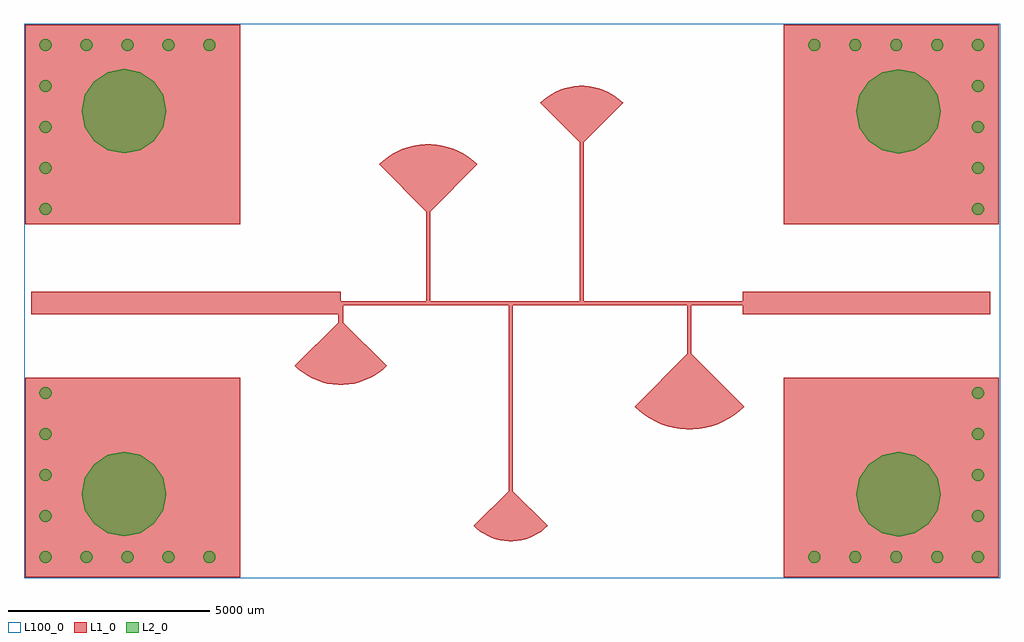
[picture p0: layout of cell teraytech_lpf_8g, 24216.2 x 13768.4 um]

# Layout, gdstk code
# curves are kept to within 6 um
import gdstk
lib = gdstk.Library(unit=1e-6, precision=1e-09)
def R(c, l, rs):  # rectangles x0, y0, x1, y1
    for r in rs: c.add(gdstk.rectangle(r[:2], r[2:], *l))
def P(c, l, *ps):  # polygons
    for p in ps: c.add(gdstk.Polygon(p, *l))
L1_0 = (1, 0)
L2_0 = (2, 0)
L100_0 = (100, 0)

teraytech_lpf_8g = lib.new_cell('teraytech_lpf_8g')
R(teraytech_lpf_8g, L1_0, [(26.2,26.2,5360.2,4979.2), (18847.6,26.2,24181.6,4979.2), (26.2,8789.2,5360.2,13742.2), (18847.6,8789.2,24181.6,13742.2)])
P(teraytech_lpf_8g, L1_0, [(14250.3,12164.3),(14473.9,12077),(14579.5,12019.8),(14774.9,11880.4),(14863.2,11799),(13885.6,10821.4),(13885.6,6882),(17831.7,6882),(17831.7,7118.6),(23980,7118.7),(23980,6554),(17831.7,6554),(17831.7,6782),(16561.4,6782),(16561.4,5574.5),(17872.7,4263.1),(17755.7,4155.4),(17630.1,4057.6),(17496.9,3970.6),(17356.9,3894.9),(17211.2,3830.9),(17060.7,3779.3),(16906.5,3740.2),(16749.5,3714),(16590.9,3700.9),(16431.8,3700.9),(16273.2,3714),(16116.2,3740.2),(15962,3779.3),(15811.5,3830.9),(15665.8,3894.9),(15525.8,3970.6),(15392.6,4057.6),(15267,4155.4),(15150,4263.1),(16461.4,5574.5),(16461.4,6782),(12126.8,6782),(12126.8,2169.6),(12993,1303.3),(12914.3,1230.8),(12740.1,1106.4),(12547.8,1012.4),(12342.7,951.3),(12237.1,933.7),(12023.2,924.9),(11810.9,951.3),(11707,977.6),(11507.7,1055.4),(11323.8,1165),(11160.5,1303.3),(12026.8,2169.6),(12026.8,6782),(7923,6782),(7923,6349.7),(8998.9,5273.8),(8900.9,5183.6),(8684.3,5028.9),(8445.3,4912),(8190.2,4836.1),(7926.1,4803.2),(7792.9,4803.2),(7528.8,4836.1),(7273.8,4912),(7034.7,5028.9),(6818.1,5183.6),(6720.1,5273.8),(7796,6349.7),(7796,6549.6),(178.8,6549.6),(178.8,7114.4),(7859.5,7114.4),(7859.5,6882),(9978.4,6882),(9978.4,9103.4),(8810.1,10271.7),(8914.9,10368.1),(9146.5,10533.4),(9402.1,10658.4),(9674.8,10739.6),(9957.2,10774.8),(10099.6,10774.8),(10381.9,10739.6),(10654.6,10658.4),(10910.3,10533.4),(11029.5,10455.5),(11246.6,10271.7),(10078.4,9103.4),(10078.4,6882),(13785.6,6882),(13785.6,10821.4),(12808,11799),(12896.4,11880.4),(13091.7,12019.8),(13197.4,12077),(13421,12164.3),(13655.9,12213.5),(13775.6,12223.4),(14015.4,12213.5)])
P(teraytech_lpf_8g, L2_0, [(22748.2,11590.2),(22668.2,11992.2),(22440.2,12332.2),(22099.2,12560.2),(21698.2,12640.2),(21296.2,12560.2),(20955.2,12332.2),(20728.2,11992.2),(20648.2,11590.2),(20728.2,11188.2),(20955.2,10848.2),(21296.2,10620.2),(21698.2,10540.2),(22099.2,10620.2),(22440.2,10848.2),(22668.2,11188.2)],
  [(22748.2,2090.2),(22668.2,2492.2),(22440.2,2832.2),(22099.2,3060.2),(21698.2,3140.2),(21296.2,3060.2),(20955.2,2832.2),(20728.2,2492.2),(20648.2,2090.2),(20728.2,1688.2),(20955.2,1348.2),(21296.2,1120.2),(21698.2,1040.2),(22099.2,1120.2),(22440.2,1348.2),(22668.2,1688.2)],
  [(3531.2,11595.2),(3451.2,11997.2),(3223.2,12338.2),(2883.2,12565.2),(2481.2,12645.2),(2079.2,12565.2),(1738.2,12338.2),(1511.2,11997.2),(1431.2,11595.2),(1511.2,11193.2),(1738.2,10853.2),(2079.2,10625.2),(2481.2,10545.2),(2883.2,10625.2),(3223.2,10853.2),(3451.2,11193.2)],
  [(3531.2,2095.2),(3451.2,2497.2),(3223.2,2838.2),(2883.2,3065.2),(2481.2,3145.2),(2079.2,3065.2),(1738.2,2838.2),(1511.2,2497.2),(1431.2,2095.2),(1511.2,1693.2),(1738.2,1353.2),(2079.2,1125.2),(2481.2,1045.2),(2883.2,1125.2),(3223.2,1353.2),(3451.2,1693.2)],
  [(23826.2,13234.2),(23814.2,13292.2),(23781.2,13342.2),(23732.2,13375.2),(23673.2,13386.2),(23615.2,13375.2),(23566.2,13342.2),(23533.2,13292.2),(23521.2,13234.2),(23533.2,13176.2),(23566.2,13126.2),(23615.2,13093.2),(23673.2,13082.2),(23732.2,13093.2),(23781.2,13126.2),(23814.2,13176.2)],
  [(22810.2,13234.2),(22798.2,13292.2),(22765.2,13342.2),(22716.2,13375.2),(22657.2,13386.2),(22599.2,13375.2),(22550.2,13342.2),(22517.2,13292.2),(22505.2,13234.2),(22517.2,13176.2),(22550.2,13126.2),(22599.2,13093.2),(22657.2,13082.2),(22716.2,13093.2),(22765.2,13126.2),(22798.2,13176.2)],
  [(21794.2,13234.2),(21782.2,13292.2),(21749.2,13342.2),(21700.2,13375.2),(21641.2,13386.2),(21583.2,13375.2),(21534.2,13342.2),(21501.2,13292.2),(21489.2,13234.2),(21501.2,13176.2),(21534.2,13126.2),(21583.2,13093.2),(21641.2,13082.2),(21700.2,13093.2),(21749.2,13126.2),(21782.2,13176.2)],
  [(20778.2,13234.2),(20766.2,13292.2),(20733.2,13342.2),(20684.2,13375.2),(20625.2,13386.2),(20567.2,13375.2),(20518.2,13342.2),(20485.2,13292.2),(20473.2,13234.2),(20485.2,13176.2),(20518.2,13126.2),(20567.2,13093.2),(20625.2,13082.2),(20684.2,13093.2),(20733.2,13126.2),(20766.2,13176.2)],
  [(19762.2,13234.2),(19750.2,13292.2),(19717.2,13342.2),(19668.2,13375.2),(19609.2,13386.2),(19551.2,13375.2),(19502.2,13342.2),(19469.2,13292.2),(19457.2,13234.2),(19469.2,13176.2),(19502.2,13126.2),(19551.2,13093.2),(19609.2,13082.2),(19668.2,13093.2),(19717.2,13126.2),(19750.2,13176.2)],
  [(23826.2,12218.2),(23814.2,12276.2),(23781.2,12326.2),(23732.2,12359.2),(23673.2,12370.2),(23615.2,12359.2),(23566.2,12326.2),(23533.2,12276.2),(23521.2,12218.2),(23533.2,12160.2),(23566.2,12110.2),(23615.2,12077.2),(23673.2,12066.2),(23732.2,12077.2),(23781.2,12110.2),(23814.2,12160.2)],
  [(23826.2,11202.2),(23814.2,11260.2),(23781.2,11310.2),(23732.2,11343.2),(23673.2,11354.2),(23615.2,11343.2),(23566.2,11310.2),(23533.2,11260.2),(23521.2,11202.2),(23533.2,11144.2),(23566.2,11094.2),(23615.2,11061.2),(23673.2,11050.2),(23732.2,11061.2),(23781.2,11094.2),(23814.2,11144.2)],
  [(23826.2,10186.2),(23814.2,10244.2),(23781.2,10294.2),(23732.2,10327.2),(23673.2,10338.2),(23615.2,10327.2),(23566.2,10294.2),(23533.2,10244.2),(23521.2,10186.2),(23533.2,10128.2),(23566.2,10078.2),(23615.2,10045.2),(23673.2,10034.2),(23732.2,10045.2),(23781.2,10078.2),(23814.2,10128.2)],
  [(23826.2,9170.2),(23814.2,9228.2),(23781.2,9278.2),(23732.2,9311.2),(23673.2,9322.2),(23615.2,9311.2),(23566.2,9278.2),(23533.2,9228.2),(23521.2,9170.2),(23533.2,9112.2),(23566.2,9062.2),(23615.2,9029.2),(23673.2,9018.2),(23732.2,9029.2),(23781.2,9062.2),(23814.2,9112.2)],
  [(23826.2,534.2),(23814.2,592.2),(23781.2,642.2),(23732.2,675.2),(23673.2,686.2),(23615.2,675.2),(23566.2,642.2),(23533.2,592.2),(23521.2,534.2),(23533.2,476.2),(23566.2,426.2),(23615.2,393.2),(23673.2,382.2),(23732.2,393.2),(23781.2,426.2),(23814.2,476.2)],
  [(22810.2,534.2),(22798.2,592.2),(22765.2,642.2),(22716.2,675.2),(22657.2,686.2),(22599.2,675.2),(22550.2,642.2),(22517.2,592.2),(22505.2,534.2),(22517.2,476.2),(22550.2,426.2),(22599.2,393.2),(22657.2,382.2),(22716.2,393.2),(22765.2,426.2),(22798.2,476.2)],
  [(21794.2,534.2),(21782.2,592.2),(21749.2,642.2),(21700.2,675.2),(21641.2,686.2),(21583.2,675.2),(21534.2,642.2),(21501.2,592.2),(21489.2,534.2),(21501.2,476.2),(21534.2,426.2),(21583.2,393.2),(21641.2,382.2),(21700.2,393.2),(21749.2,426.2),(21782.2,476.2)],
  [(20778.2,534.2),(20766.2,592.2),(20733.2,642.2),(20684.2,675.2),(20625.2,686.2),(20567.2,675.2),(20518.2,642.2),(20485.2,592.2),(20473.2,534.2),(20485.2,476.2),(20518.2,426.2),(20567.2,393.2),(20625.2,382.2),(20684.2,393.2),(20733.2,426.2),(20766.2,476.2)],
  [(19762.2,534.2),(19750.2,592.2),(19717.2,642.2),(19668.2,675.2),(19609.2,686.2),(19551.2,675.2),(19502.2,642.2),(19469.2,592.2),(19457.2,534.2),(19469.2,476.2),(19502.2,426.2),(19551.2,393.2),(19609.2,382.2),(19668.2,393.2),(19717.2,426.2),(19750.2,476.2)],
  [(23826.2,1550.2),(23814.2,1608.2),(23781.2,1658.2),(23732.2,1691.2),(23673.2,1702.2),(23615.2,1691.2),(23566.2,1658.2),(23533.2,1608.2),(23521.2,1550.2),(23533.2,1492.2),(23566.2,1442.2),(23615.2,1409.2),(23673.2,1398.2),(23732.2,1409.2),(23781.2,1442.2),(23814.2,1492.2)],
  [(23826.2,2566.2),(23814.2,2624.2),(23781.2,2674.2),(23732.2,2707.2),(23673.2,2718.2),(23615.2,2707.2),(23566.2,2674.2),(23533.2,2624.2),(23521.2,2566.2),(23533.2,2508.2),(23566.2,2458.2),(23615.2,2425.2),(23673.2,2414.2),(23732.2,2425.2),(23781.2,2458.2),(23814.2,2508.2)],
  [(23826.2,3582.2),(23814.2,3640.2),(23781.2,3690.2),(23732.2,3723.2),(23673.2,3734.2),(23615.2,3723.2),(23566.2,3690.2),(23533.2,3640.2),(23521.2,3582.2),(23533.2,3524.2),(23566.2,3474.2),(23615.2,3441.2),(23673.2,3430.2),(23732.2,3441.2),(23781.2,3474.2),(23814.2,3524.2)],
  [(23826.2,4598.2),(23814.2,4656.2),(23781.2,4706.2),(23732.2,4739.2),(23673.2,4750.2),(23615.2,4739.2),(23566.2,4706.2),(23533.2,4656.2),(23521.2,4598.2),(23533.2,4540.2),(23566.2,4490.2),(23615.2,4457.2),(23673.2,4446.2),(23732.2,4457.2),(23781.2,4490.2),(23814.2,4540.2)],
  [(686.2,534.2),(675.2,592.2),(642.2,642.2),(592.2,675.2),(534.2,686.2),(476.2,675.2),(426.2,642.2),(393.2,592.2),(382.2,534.2),(393.2,476.2),(426.2,426.2),(476.2,393.2),(534.2,382.2),(592.2,393.2),(642.2,426.2),(675.2,476.2)],
  [(1702.2,534.2),(1691.2,592.2),(1658.2,642.2),(1608.2,675.2),(1550.2,686.2),(1492.2,675.2),(1442.2,642.2),(1409.2,592.2),(1398.2,534.2),(1409.2,476.2),(1442.2,426.2),(1492.2,393.2),(1550.2,382.2),(1608.2,393.2),(1658.2,426.2),(1691.2,476.2)],
  [(2718.2,534.2),(2707.2,592.2),(2674.2,642.2),(2624.2,675.2),(2566.2,686.2),(2508.2,675.2),(2458.2,642.2),(2425.2,592.2),(2414.2,534.2),(2425.2,476.2),(2458.2,426.2),(2508.2,393.2),(2566.2,382.2),(2624.2,393.2),(2674.2,426.2),(2707.2,476.2)],
  [(3734.2,534.2),(3723.2,592.2),(3690.2,642.2),(3640.2,675.2),(3582.2,686.2),(3524.2,675.2),(3474.2,642.2),(3441.2,592.2),(3430.2,534.2),(3441.2,476.2),(3474.2,426.2),(3524.2,393.2),(3582.2,382.2),(3640.2,393.2),(3690.2,426.2),(3723.2,476.2)],
  [(4750.2,534.2),(4739.2,592.2),(4706.2,642.2),(4656.2,675.2),(4598.2,686.2),(4540.2,675.2),(4490.2,642.2),(4457.2,592.2),(4446.2,534.2),(4457.2,476.2),(4490.2,426.2),(4540.2,393.2),(4598.2,382.2),(4656.2,393.2),(4706.2,426.2),(4739.2,476.2)],
  [(686.2,1550.2),(675.2,1608.2),(642.2,1658.2),(592.2,1691.2),(534.2,1702.2),(476.2,1691.2),(426.2,1658.2),(393.2,1608.2),(382.2,1550.2),(393.2,1492.2),(426.2,1442.2),(476.2,1409.2),(534.2,1398.2),(592.2,1409.2),(642.2,1442.2),(675.2,1492.2)],
  [(686.2,2566.2),(675.2,2624.2),(642.2,2674.2),(592.2,2707.2),(534.2,2718.2),(476.2,2707.2),(426.2,2674.2),(393.2,2624.2),(382.2,2566.2),(393.2,2508.2),(426.2,2458.2),(476.2,2425.2),(534.2,2414.2),(592.2,2425.2),(642.2,2458.2),(675.2,2508.2)],
  [(686.2,3582.2),(675.2,3640.2),(642.2,3690.2),(592.2,3723.2),(534.2,3734.2),(476.2,3723.2),(426.2,3690.2),(393.2,3640.2),(382.2,3582.2),(393.2,3524.2),(426.2,3474.2),(476.2,3441.2),(534.2,3430.2),(592.2,3441.2),(642.2,3474.2),(675.2,3524.2)],
  [(686.2,4598.2),(675.2,4656.2),(642.2,4706.2),(592.2,4739.2),(534.2,4750.2),(476.2,4739.2),(426.2,4706.2),(393.2,4656.2),(382.2,4598.2),(393.2,4540.2),(426.2,4490.2),(476.2,4457.2),(534.2,4446.2),(592.2,4457.2),(642.2,4490.2),(675.2,4540.2)],
  [(686.2,9170.2),(675.2,9228.2),(642.2,9278.2),(592.2,9311.2),(534.2,9322.2),(476.2,9311.2),(426.2,9278.2),(393.2,9228.2),(382.2,9170.2),(393.2,9112.2),(426.2,9062.2),(476.2,9029.2),(534.2,9018.2),(592.2,9029.2),(642.2,9062.2),(675.2,9112.2)],
  [(686.2,10186.2),(675.2,10244.2),(642.2,10294.2),(592.2,10327.2),(534.2,10338.2),(476.2,10327.2),(426.2,10294.2),(393.2,10244.2),(382.2,10186.2),(393.2,10128.2),(426.2,10078.2),(476.2,10045.2),(534.2,10034.2),(592.2,10045.2),(642.2,10078.2),(675.2,10128.2)],
  [(686.2,11202.2),(675.2,11260.2),(642.2,11310.2),(592.2,11343.2),(534.2,11354.2),(476.2,11343.2),(426.2,11310.2),(393.2,11260.2),(382.2,11202.2),(393.2,11144.2),(426.2,11094.2),(476.2,11061.2),(534.2,11050.2),(592.2,11061.2),(642.2,11094.2),(675.2,11144.2)],
  [(686.2,12218.2),(675.2,12276.2),(642.2,12326.2),(592.2,12359.2),(534.2,12370.2),(476.2,12359.2),(426.2,12326.2),(393.2,12276.2),(382.2,12218.2),(393.2,12160.2),(426.2,12110.2),(476.2,12077.2),(534.2,12066.2),(592.2,12077.2),(642.2,12110.2),(675.2,12160.2)],
  [(4750.2,13234.2),(4739.2,13292.2),(4706.2,13342.2),(4656.2,13375.2),(4598.2,13386.2),(4540.2,13375.2),(4490.2,13342.2),(4457.2,13292.2),(4446.2,13234.2),(4457.2,13176.2),(4490.2,13126.2),(4540.2,13093.2),(4598.2,13082.2),(4656.2,13093.2),(4706.2,13126.2),(4739.2,13176.2)],
  [(3734.2,13234.2),(3723.2,13292.2),(3690.2,13342.2),(3640.2,13375.2),(3582.2,13386.2),(3524.2,13375.2),(3474.2,13342.2),(3441.2,13292.2),(3430.2,13234.2),(3441.2,13176.2),(3474.2,13126.2),(3524.2,13093.2),(3582.2,13082.2),(3640.2,13093.2),(3690.2,13126.2),(3723.2,13176.2)],
  [(2718.2,13234.2),(2707.2,13292.2),(2674.2,13342.2),(2624.2,13375.2),(2566.2,13386.2),(2508.2,13375.2),(2458.2,13342.2),(2425.2,13292.2),(2414.2,13234.2),(2425.2,13176.2),(2458.2,13126.2),(2508.2,13093.2),(2566.2,13082.2),(2624.2,13093.2),(2674.2,13126.2),(2707.2,13176.2)],
  [(1702.2,13234.2),(1691.2,13292.2),(1658.2,13342.2),(1608.2,13375.2),(1550.2,13386.2),(1492.2,13375.2),(1442.2,13342.2),(1409.2,13292.2),(1398.2,13234.2),(1409.2,13176.2),(1442.2,13126.2),(1492.2,13093.2),(1550.2,13082.2),(1608.2,13093.2),(1658.2,13126.2),(1691.2,13176.2)],
  [(686.2,13234.2),(675.2,13292.2),(642.2,13342.2),(592.2,13375.2),(534.2,13386.2),(476.2,13375.2),(426.2,13342.2),(393.2,13292.2),(382.2,13234.2),(393.2,13176.2),(426.2,13126.2),(476.2,13093.2),(534.2,13082.2),(592.2,13093.2),(642.2,13126.2),(675.2,13176.2)])
R(teraytech_lpf_8g, L100_0, [(0,0,24216.2,13768.4)])

lib.write_gds('teraytech_lpf_8g.gds')
